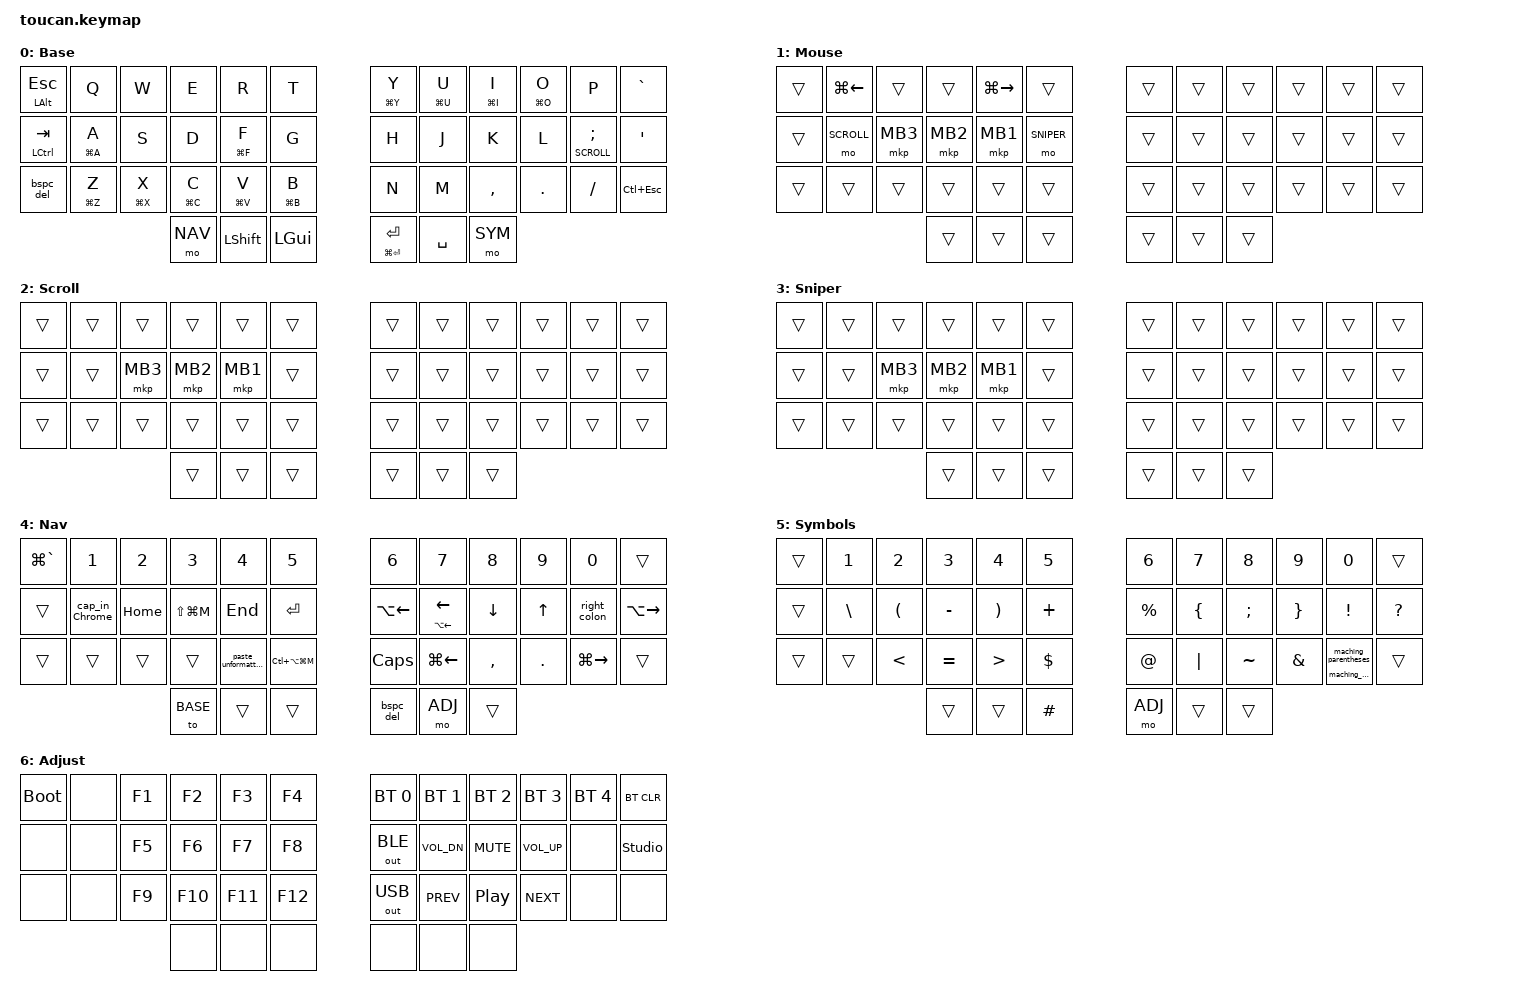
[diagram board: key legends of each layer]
/*
 * Toucan2 keymap - ported from Mason's Velvet v3 layout
 * (MasonBarney/ergohaven-zmk-config: config/velvet_v3_ui.keymap)
 *
 * Replaces config/toucan.keymap. Everything trackpad-related is overridden at
 * the bottom of this file, so no shield files (boards/shields/toucan/*) change.
 *
 * Key positions (for excluded-positions):
 *    0  1  2  3  4  5 |  6  7  8  9 10 11
 *   12 13 14 15 16 17 | 18 19 20 21 22 23
 *   24 25 26 27 28 29 | 30 31 32 33 34 35
 *            36 37 38 | 39 40 41
 */

#include <behaviors.dtsi>
#include <dt-bindings/zmk/keys.h>
#include <dt-bindings/zmk/bt.h>
#include <dt-bindings/zmk/outputs.h>
#include <dt-bindings/zmk/pointing.h>

#define BASE   0
#define MOUSE  1
#define SCROLL 2
#define SNIPER 3
#define NAV    4
#define SYM    5
#define ADJ    6

/* Hold-tap timing, same as the Velvet */
&mt {
    tapping-term-ms = <275>;
    flavor = "tap-preferred";
    quick-tap-ms = <200>;
    require-prior-idle-ms = <150>;
};

&lt {
    tapping-term-ms = <275>;
    flavor = "tap-preferred";
};

/* Macros, same as the Velvet */
/ {
    macros {
        // Select all, then Cmd+Opt+1 (WiseTime caps)
        cap_in_Chrome: cap_in_Chrome {
            label = "&CAP_IN_CHROME";
            compatible = "zmk,behavior-macro";
            #binding-cells = <0>;
            bindings = <&macro_tap>
                , <&kp LG(A)>
                , <&macro_wait_time 100>
                , <&macro_tap>
                , <&kp LG(LA(N1))>;
        };

        maching_parentheses: maching_parentheses {
            label = "&MACHING_PARENTHESES";
            compatible = "zmk,behavior-macro";
            #binding-cells = <0>;
            bindings = <&macro_tap>
                , <&kp LS(N9)>
                , <&macro_tap>
                , <&kp LS(N0)>
                , <&macro_tap>
                , <&kp SPACE>
                , <&macro_tap>
                , <&kp LEFT>
                , <&kp LEFT>;
        };

        maching_brakets: maching_brakets {
            label = "&MACHING_BRAKETS";
            compatible = "zmk,behavior-macro";
            #binding-cells = <0>;
            bindings = <&macro_tap>
                , <&kp LBKT>
                , <&macro_tap>
                , <&kp RBKT>
                , <&macro_tap>
                , <&kp LEFT>
                , <&macro_wait_time 15>
                , <&macro_tap>
                , <&caps_word>;
        };

        Paste_Unformatted_Word: Paste_Unformatted_Word {
            label = "&PASTE_UNFORMATTED_WORD";
            compatible = "zmk,behavior-macro";
            #binding-cells = <0>;
            bindings = <&kp LG(LC(V))>
                , <&macro_wait_time 200>
                , <&kp U>
                , <&macro_tap_time 100>
                , <&kp RET>;
        };
    };
};

/* Behaviors, same as the Velvet */
/ {
    behaviors {
        // Tap: () macro, hold: [] macro
        macro_hold_tap: macro_hold_tap {
            compatible = "zmk,behavior-hold-tap";
            #binding-cells = <2>;
            tapping-term-ms = <200>;
            bindings = <&maching_brakets>, <&maching_parentheses>;
            flavor = "tap-preferred";
            quick-tap-ms = <200>;
        };

        bspc_del: bspc_del {
            compatible = "zmk,behavior-mod-morph";
            #binding-cells = <0>;
            bindings = <&kp BSPC>, <&kp DEL>;
            mods = <(MOD_LSFT|MOD_RSFT)>;
        };

        right_colon: right_colon {
            compatible = "zmk,behavior-mod-morph";
            #binding-cells = <0>;
            bindings = <&mt LA(RIGHT) RIGHT>, <&kp COLON>;
            mods = <(MOD_LSFT|MOD_RSFT)>;
        };

        paste_unformatted_word: paste_unformatted_word {
            compatible = "zmk,behavior-mod-morph";
            #binding-cells = <0>;
            bindings = <&Paste_Unformatted_Word>, <&kp LG(LA(LS(V)))>;
            mods = <(MOD_LSFT|MOD_RSFT)>;
        };
    };
};

/ {
    keymap {
        compatible = "zmk,keymap";

        base {
            display-name = "Base";
            //  Esc/Alt   Q      W      E      R      T     | Y(⌘Y) U(⌘U)  I(⌘I)  O(⌘O)  P          `
            //  Tab/Ctrl  A(⌘A)  S      D      F(⌘F)  G     | H     J      K      L      ;/Scroll   '
            //  Bspc/Del  Z(⌘Z)  X(⌘X)  C(⌘C)  V(⌘V)  B(⌘B) | N     M      ,      .      /          Ctrl+Esc
            //                          Nav    Shift  Cmd   | Ent(⌘Ent)  Space  Sym
            bindings = <
                &mt LALT ESC   &kp Q        &kp W        &kp E        &kp R        &kp T          &mt LG(Y) Y  &mt LG(U) U  &mt LG(I) I  &mt LG(O) O  &kp P          &kp GRAVE
                &mt LCTRL TAB  &mt LG(A) A  &kp S        &kp D        &mt LG(F) F  &kp G          &kp H        &kp J        &kp K        &kp L        &lt SCROLL SEMI &kp SQT
                &bspc_del      &mt LG(Z) Z  &mt LG(X) X  &mt LG(C) C  &mt LG(V) V  &mt LG(B) B    &kp N        &kp M        &kp COMMA    &kp DOT      &kp SLASH      &kp LC(ESC)
                                                         &mo NAV      &kp LSHFT    &kp LGUI       &mt LG(RET) RET  &kp SPACE  &mo SYM
            >;
        };

        mouse {
            display-name = "Mouse";
            // On for 700 ms after trackpad movement. Left hand only.
            //  ·  ⌘←      ·       ·       ⌘→      ·       | · · · · · ·
            //  ·  Scroll  MClick  RClick  LClick  Sniper  | · · · · · ·
            //  ·  ·       ·       ·       ·       ·       | · · · · · ·
            bindings = <
                &trans  &kp LG(LEFT)  &trans    &trans    &kp LG(RIGHT)  &trans        &trans  &trans  &trans  &trans  &trans  &trans
                &trans  &mo SCROLL    &mkp MB3  &mkp MB2  &mkp MB1       &mo SNIPER    &trans  &trans  &trans  &trans  &trans  &trans
                &trans  &trans        &trans    &trans    &trans         &trans        &trans  &trans  &trans  &trans  &trans  &trans
                                                &trans    &trans         &trans        &trans  &trans  &trans
            >;
        };

        scroll {
            display-name = "Scroll";
            // Trackpad movement scrolls on this layer
            bindings = <
                &trans  &trans  &trans    &trans    &trans    &trans        &trans  &trans  &trans  &trans  &trans  &trans
                &trans  &trans  &mkp MB3  &mkp MB2  &mkp MB1  &trans        &trans  &trans  &trans  &trans  &trans  &trans
                &trans  &trans  &trans    &trans    &trans    &trans        &trans  &trans  &trans  &trans  &trans  &trans
                                          &trans    &trans    &trans        &trans  &trans  &trans
            >;
        };

        sniper {
            display-name = "Sniper";
            // Trackpad moves at 1/4 speed on this layer
            bindings = <
                &trans  &trans  &trans    &trans    &trans    &trans        &trans  &trans  &trans  &trans  &trans  &trans
                &trans  &trans  &mkp MB3  &mkp MB2  &mkp MB1  &trans        &trans  &trans  &trans  &trans  &trans  &trans
                &trans  &trans  &trans    &trans    &trans    &trans        &trans  &trans  &trans  &trans  &trans  &trans
                                          &trans    &trans    &trans        &trans  &trans  &trans
            >;
        };

        nav {
            display-name = "Nav";
            //  ⌘`  1         2     3     4         5        | 6       7       8  9  0           ·
            //  ·   WiseTime  Home  ⇧⌘M   End       Enter    | ⌥←      ←(⌥←)   ↓  ↑  →(⌥→)/:     ⌥→
            //  ·   ·         ·     ·     PasteUnf  ⌃⌥⌘M     | CapsLk  ⌘←      ,  .  ⌘→          ·
            //                      ToBase ·        ·        | Bspc/Del  Adjust  ·
            bindings = <
                &kp LG(GRAVE)  &kp N1          &kp N2    &kp N3         &kp N4                   &kp N5                &kp N6        &kp N7             &kp N8     &kp N9   &kp N0         &trans
                &trans         &cap_in_Chrome  &kp HOME  &kp LS(LG(M))  &kp END                  &kp RET               &kp LA(LEFT)  &mt LA(LEFT) LEFT  &kp DOWN   &kp UP   &right_colon   &kp LA(RIGHT)
                &trans         &trans          &trans    &trans         &paste_unformatted_word  &kp LC(LA(LG(M)))     &kp CLCK      &kp LG(LEFT)       &kp COMMA  &kp DOT  &kp LG(RIGHT)  &trans
                                                         &to BASE       &trans                   &trans                &bspc_del     &mo ADJ            &trans
            >;
        };

        sym {
            display-name = "Symbols";
            //  ·  1  2  3  4  5  | 6  7  8  9  0      ·
            //  ·  \  (  -  )  +  | %  {  ;  }  !      ?
            //  ·  ·  <  =  >  $  | @  |  ~  &  ()/[]  ·
            //           ·  ·  #  | Adjust  ·  ·
            bindings = <
                &trans  &kp N1    &kp N2    &kp N3     &kp N4    &kp N5          &kp N6     &kp N7    &kp N8     &kp N9    &kp N0               &trans
                &trans  &kp BSLH  &kp LPAR  &kp MINUS  &kp RPAR  &kp PLUS        &kp PRCNT  &kp LBRC  &kp SEMI   &kp RBRC  &kp EXCL             &kp QUESTION
                &trans  &trans    &kp LT    &kp EQUAL  &kp GT    &kp DLLR        &kp AT     &kp PIPE  &kp TILDE  &kp AMPS  &macro_hold_tap 0 0  &trans
                                            &trans     &trans    &kp HASH        &mo ADJ    &trans    &trans
            >;
        };

        adj {
            display-name = "Adjust";
            bindings = <
                &bootloader  &none  &kp F1  &kp F2   &kp F3   &kp F4         &bt BT_SEL 0  &bt BT_SEL 1  &bt BT_SEL 2      &bt BT_SEL 3  &bt BT_SEL 4  &bt BT_CLR
                &none        &none  &kp F5  &kp F6   &kp F7   &kp F8         &out OUT_BLE  &kp C_VOL_DN  &kp C_MUTE        &kp C_VOL_UP  &none         &studio_unlock
                &none        &none  &kp F9  &kp F10  &kp F11  &kp F12        &out OUT_USB  &kp C_PREV    &kp C_PLAY_PAUSE  &kp C_NEXT    &none         &none
                                            &none    &none    &none          &none         &none         &none
            >;
        };
    };
};

/* ---------------- Trackpad ---------------- */

/ {
    input_processors {
        // Mouse layer stays on for 700 ms after trackpad activity (like the Velvet).
        // Only kicks in if no key was pressed in the last 800 ms.
        zip_auto_mouse: zip_auto_mouse {
            compatible = "zmk,input-processor-temp-layer";
            #input-processor-cells = <2>;
            require-prior-idle-ms = <800>;
            // Pressing these keys does NOT turn the mouse layer off, so
            // double-click and click-and-drag work: Q R A S D F G
            excluded-positions = <1 4 13 14 15 16 17>;
        };
    };
};

// The stock "layer on while touching" hook. It's bound to nothing now, but it
// stays in the chain so it still swallows the raw touch event.
&is_touching_processor {
    bindings = <&none>;
};

&trackpad_listener {
    input-processors = <&zip_auto_mouse MOUSE 700>, <&zip_xy_scaler 100 100>, <&zip_scroll_scaler 1 20>, <&zip_zoom_mapper>, <&is_touching_processor>, <&swipe_button_mapper>;

    // Pad movement scrolls on the Scroll layer (stock was layers 1 and 2)
    scroller {
        layers = <SCROLL>;
    };

    sniper {
        layers = <SNIPER>;
        input-processors = <&zip_xy_scaler 1 4>;
    };
};
